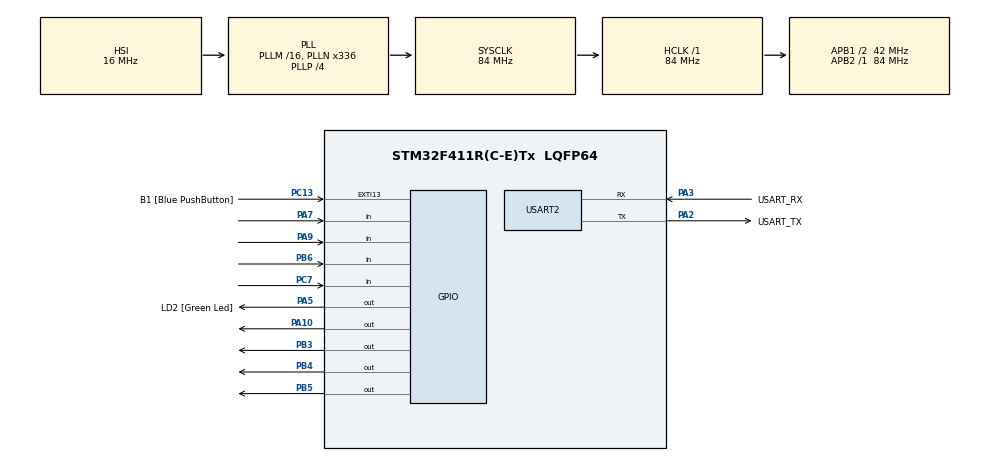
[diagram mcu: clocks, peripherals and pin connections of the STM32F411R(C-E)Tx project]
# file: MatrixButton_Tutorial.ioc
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Mcu.Family=STM32F4
Mcu.Name=STM32F411R(C-E)Tx
Mcu.Package=LQFP64
NVIC.PriorityGroup=NVIC_PRIORITYGROUP_0
PA10.PinState=GPIO_PIN_SET
PA10.Signal=GPIO_Output
PA13.GPIO_Label=TMS
PA13.Mode=Serial_Wire
PA13.Signal=SYS_JTMS-SWDIO
PA14.GPIO_Label=TCK
PA14.Mode=Serial_Wire
PA14.Signal=SYS_JTCK-SWCLK
PA2.GPIO_Label=USART_TX
PA2.Mode=Asynchronous
PA2.Signal=USART2_TX
PA3.GPIO_Label=USART_RX
PA3.Mode=Asynchronous
PA3.Signal=USART2_RX
PA5.GPIO_Label=LD2 [Green Led]
PA5.Signal=GPIO_Output
PA7.GPIO_PuPd=GPIO_PULLUP
PA7.Signal=GPIO_Input
PA9.GPIO_PuPd=GPIO_PULLUP
PA9.Signal=GPIO_Input
PB3.PinState=GPIO_PIN_SET
PB3.Signal=GPIO_Output
PB4.PinState=GPIO_PIN_SET
PB4.Signal=GPIO_Output
PB5.PinState=GPIO_PIN_SET
PB5.Signal=GPIO_Output
PB6.GPIO_PuPd=GPIO_PULLUP
PB6.Signal=GPIO_Input
PC13-ANTI_TAMP.GPIO_Label=B1 [Blue PushButton]
PC13-ANTI_TAMP.GPIO_ModeDefaultEXTI=GPIO_MODE_IT_FALLING
PC13-ANTI_TAMP.Signal=GPXTI13
PC14-OSC32_IN.Mode=LSE-External-Oscillator
PC14-OSC32_IN.Signal=RCC_OSC32_IN
PC15-OSC32_OUT.Mode=LSE-External-Oscillator
PC15-OSC32_OUT.Signal=RCC_OSC32_OUT
PC7.GPIO_PuPd=GPIO_PULLUP
PC7.Signal=GPIO_Input
PH0\ -\ OSC_IN.Mode=HSE-External-Clock-Source
PH0\ -\ OSC_IN.Signal=RCC_OSC_IN
PH1\ -\ OSC_OUT.Mode=HSE-External-Clock-Source
PH1\ -\ OSC_OUT.Signal=RCC_OSC_OUT
ProjectManager.HeapSize=0x200
ProjectManager.StackSize=0x400
ProjectManager.TargetToolchain=STM32CubeIDE
RCC.48MHZClocksFreq_Value=84000000
RCC.AHBFreq_Value=84000000
RCC.APB1CLKDivider=RCC_HCLK_DIV2
RCC.APB1Freq_Value=42000000
RCC.APB1TimFreq_Value=84000000
RCC.APB2Freq_Value=84000000
RCC.APB2TimFreq_Value=84000000
RCC.CortexFreq_Value=84000000
RCC.FLatency-AdvancedSettings=FLASH_LATENCY_2
RCC.HCLKFreq_Value=84000000
RCC.HSE_VALUE=8000000
RCC.HSI_VALUE=16000000
RCC.PLLN=336
RCC.PLLP=RCC_PLLP_DIV4
RCC.SYSCLKFreq_VALUE=84000000
RCC.SYSCLKSource=RCC_SYSCLKSOURCE_PLLCLK
RCC.VCOOutputFreq_Value=336000000
USART2.VirtualMode=VM_ASYNC
board=NUCLEO-F411RE

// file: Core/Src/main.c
/* USER CODE BEGIN Header */
/**
  ******************************************************************************
  * @file           : main.c
  * @brief          : Main program body
  ******************************************************************************
  * @attention
  *
  * Copyright (c) 2023 STMicroelectronics.
  * All rights reserved.
  *
  * This software is licensed under terms that can be found in the LICENSE file
  * in the root directory of this software component.
  * If no LICENSE file comes with this software, it is provided AS-IS.
  *
  ******************************************************************************
  */
/* USER CODE END Header */
#include "main.h"

UART_HandleTypeDef huart2;

/* USER CODE BEGIN PV */

//Creat structure of PortPin
typedef struct _PortPin
{
	GPIO_TypeDef* PORT;
	uint16_t PIN;
} PortPin;

//Declare PortPin R(nucleo's output),L(nucleo's input)
PortPin L[4] =
{
		{GPIOA,GPIO_PIN_9},
		{GPIOC,GPIO_PIN_7},
		{GPIOB,GPIO_PIN_6},
		{GPIOA,GPIO_PIN_7}
};

PortPin R[4] =
{
		{GPIOA,GPIO_PIN_10},
		{GPIOB,GPIO_PIN_3},
		{GPIOB,GPIO_PIN_5},
		{GPIOB,GPIO_PIN_4}
};

uint16_t ButtonMatrix = 0;
void Read1Row();
/* USER CODE END PV */

void SystemClock_Config(void);
static void MX_GPIO_Init(void);
static void MX_USART2_UART_Init(void);

int main(void)
{

  /* MCU Configuration--------------------------------------------------------*/

  /* Reset of all peripherals, Initializes the Flash interface and the Systick. */
  HAL_Init();

  /* Configure the system clock */
  SystemClock_Config();

  /* Initialize all configured peripherals */
  MX_GPIO_Init();
  MX_USART2_UART_Init();

  /* Infinite loop */
  while (1)
  {

    /* USER CODE BEGIN 3 */
	  //Call function ever 10 ms(100 Hz)
	  static uint32_t timestamp = 0;
	  if (HAL_GetTick()>=timestamp)
	  {
		  timestamp = HAL_GetTick() + 10;
		  Read1Row();
	  }

  }
  /* USER CODE END 3 */
}

void SystemClock_Config(void)
{
  RCC_OscInitTypeDef RCC_OscInitStruct = {0};
  RCC_ClkInitTypeDef RCC_ClkInitStruct = {0};

  /** Configure the main internal regulator output voltage
  */
  __HAL_RCC_PWR_CLK_ENABLE();
  __HAL_PWR_VOLTAGESCALING_CONFIG(PWR_REGULATOR_VOLTAGE_SCALE1);

  /** Initializes the RCC Oscillators according to the specified parameters
  * in the RCC_OscInitTypeDef structure.
  */
  RCC_OscInitStruct.OscillatorType = RCC_OSCILLATORTYPE_HSI;
  RCC_OscInitStruct.HSIState = RCC_HSI_ON;
  RCC_OscInitStruct.HSICalibrationValue = RCC_HSICALIBRATION_DEFAULT;
  RCC_OscInitStruct.PLL.PLLState = RCC_PLL_ON;
  RCC_OscInitStruct.PLL.PLLSource = RCC_PLLSOURCE_HSI;
  RCC_OscInitStruct.PLL.PLLM = 16;
  RCC_OscInitStruct.PLL.PLLN = 336;
  RCC_OscInitStruct.PLL.PLLP = RCC_PLLP_DIV4;
  RCC_OscInitStruct.PLL.PLLQ = 4;
  if (HAL_RCC_OscConfig(&RCC_OscInitStruct) != HAL_OK)
  {
    Error_Handler();
  }

  /** Initializes the CPU, AHB and APB buses clocks
  */
  RCC_ClkInitStruct.ClockType = RCC_CLOCKTYPE_HCLK|RCC_CLOCKTYPE_SYSCLK
                              |RCC_CLOCKTYPE_PCLK1|RCC_CLOCKTYPE_PCLK2;
  RCC_ClkInitStruct.SYSCLKSource = RCC_SYSCLKSOURCE_PLLCLK;
  RCC_ClkInitStruct.AHBCLKDivider = RCC_SYSCLK_DIV1;
  RCC_ClkInitStruct.APB1CLKDivider = RCC_HCLK_DIV2;
  RCC_ClkInitStruct.APB2CLKDivider = RCC_HCLK_DIV1;

  if (HAL_RCC_ClockConfig(&RCC_ClkInitStruct, FLASH_LATENCY_2) != HAL_OK)
  {
    Error_Handler();
  }
}

static void MX_USART2_UART_Init(void)
{

  huart2.Instance = USART2;
  huart2.Init.BaudRate = 115200;
  huart2.Init.WordLength = UART_WORDLENGTH_8B;
  huart2.Init.StopBits = UART_STOPBITS_1;
  huart2.Init.Parity = UART_PARITY_NONE;
  huart2.Init.Mode = UART_MODE_TX_RX;
  huart2.Init.HwFlowCtl = UART_HWCONTROL_NONE;
  huart2.Init.OverSampling = UART_OVERSAMPLING_16;
  if (HAL_UART_Init(&huart2) != HAL_OK)
  {
    Error_Handler();
  }

}

static void MX_GPIO_Init(void)
{
  GPIO_InitTypeDef GPIO_InitStruct = {0};

  /* GPIO Ports Clock Enable */
  __HAL_RCC_GPIOC_CLK_ENABLE();
  __HAL_RCC_GPIOH_CLK_ENABLE();
  __HAL_RCC_GPIOA_CLK_ENABLE();
  __HAL_RCC_GPIOB_CLK_ENABLE();

  /*Configure GPIO pin Output Level */
  HAL_GPIO_WritePin(LD2_GPIO_Port, LD2_Pin, GPIO_PIN_RESET);

  /*Configure GPIO pin Output Level */
  HAL_GPIO_WritePin(GPIOA, GPIO_PIN_10, GPIO_PIN_SET);

  /*Configure GPIO pin Output Level */
  HAL_GPIO_WritePin(GPIOB, GPIO_PIN_3|GPIO_PIN_4|GPIO_PIN_5, GPIO_PIN_SET);

  /*Configure GPIO pin : B1_Pin */
  GPIO_InitStruct.Pin = B1_Pin;
  GPIO_InitStruct.Mode = GPIO_MODE_IT_FALLING;
  GPIO_InitStruct.Pull = GPIO_NOPULL;
  HAL_GPIO_Init(B1_GPIO_Port, &GPIO_InitStruct);

  /*Configure GPIO pins : LD2_Pin PA10 */
  GPIO_InitStruct.Pin = LD2_Pin|GPIO_PIN_10;
  GPIO_InitStruct.Mode = GPIO_MODE_OUTPUT_PP;
  GPIO_InitStruct.Pull = GPIO_NOPULL;
  GPIO_InitStruct.Speed = GPIO_SPEED_FREQ_LOW;
  HAL_GPIO_Init(GPIOA, &GPIO_InitStruct);

  /*Configure GPIO pins : PA7 PA9 */
  GPIO_InitStruct.Pin = GPIO_PIN_7|GPIO_PIN_9;
  GPIO_InitStruct.Mode = GPIO_MODE_INPUT;
  GPIO_InitStruct.Pull = GPIO_PULLUP;
  HAL_GPIO_Init(GPIOA, &GPIO_InitStruct);

  /*Configure GPIO pin : PC7 */
  GPIO_InitStruct.Pin = GPIO_PIN_7;
  GPIO_InitStruct.Mode = GPIO_MODE_INPUT;
  GPIO_InitStruct.Pull = GPIO_PULLUP;
  HAL_GPIO_Init(GPIOC, &GPIO_InitStruct);

  /*Configure GPIO pins : PB3 PB4 PB5 */
  GPIO_InitStruct.Pin = GPIO_PIN_3|GPIO_PIN_4|GPIO_PIN_5;
  GPIO_InitStruct.Mode = GPIO_MODE_OUTPUT_PP;
  GPIO_InitStruct.Pull = GPIO_NOPULL;
  GPIO_InitStruct.Speed = GPIO_SPEED_FREQ_LOW;
  HAL_GPIO_Init(GPIOB, &GPIO_InitStruct);

  /*Configure GPIO pin : PB6 */
  GPIO_InitStruct.Pin = GPIO_PIN_6;
  GPIO_InitStruct.Mode = GPIO_MODE_INPUT;
  GPIO_InitStruct.Pull = GPIO_PULLUP;
  HAL_GPIO_Init(GPIOB, &GPIO_InitStruct);

}

/* USER CODE BEGIN 4 */
void Read1Row()
{
	static uint8_t x = 0;

	//Read L1-L4
	register int i;
	for (i=0;i<4;i++)
	{
		if (HAL_GPIO_ReadPin(L[i].PORT, L[i].PIN))
		{
			//Change bit to 0
			ButtonMatrix &= ~(1<<(x*4+i));
		}
		else
		{
			ButtonMatrix |= 1<<(x*4+i);
		}
	}
	//Set R[x]
	HAL_GPIO_WritePin(R[x].PORT, R[x].PIN, 1);
	//Reset next R
	HAL_GPIO_WritePin(R[(x+1)%4].PORT, R[(x+1)%4].PIN, 0);
	x++;
	x%=4;
}
/* USER CODE END 4 */

void Error_Handler(void)
{
  __disable_irq();
  while (1)
  {
  }
}
